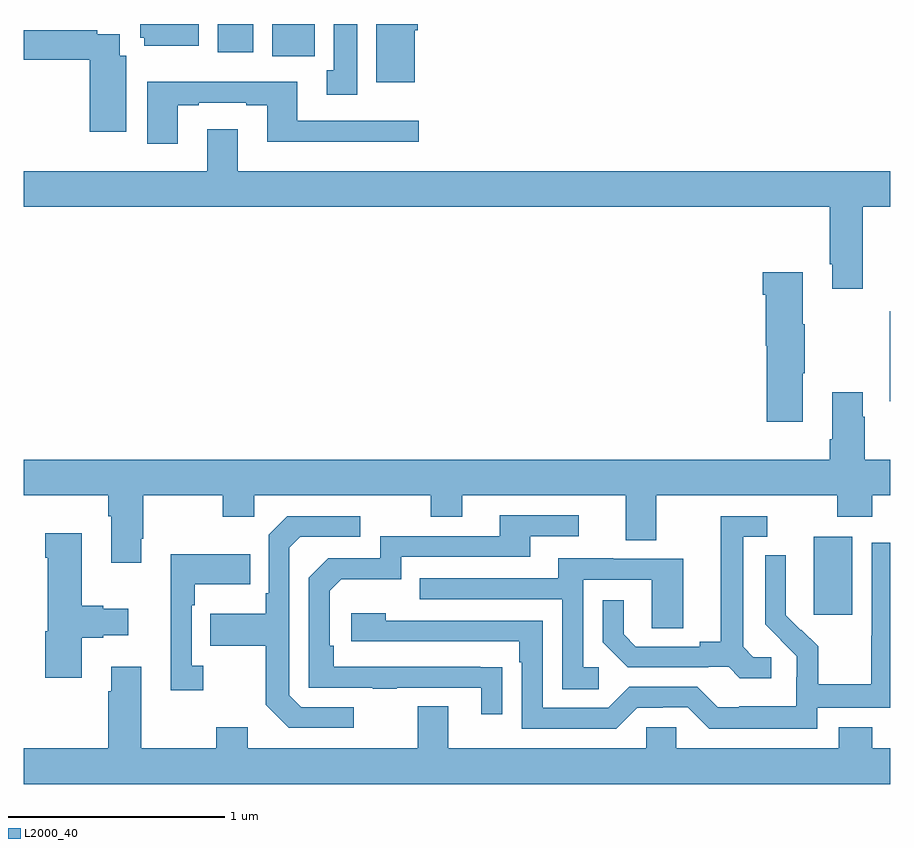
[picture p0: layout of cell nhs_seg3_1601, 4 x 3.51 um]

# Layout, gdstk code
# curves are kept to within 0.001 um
import gdstk
lib = gdstk.Library(unit=1e-6, precision=1e-09)
def R(c, l, rs):  # rectangles x0, y0, x1, y1
    for r in rs: c.add(gdstk.rectangle(r[:2], r[2:], *l))
def P(c, l, *ps):  # polygons
    for p in ps: c.add(gdstk.Polygon(p, *l))
L2000_40 = (2000, 40)

nhs_seg3_1601 = lib.new_cell('nhs_seg3_1601')
R(nhs_seg3_1601, L2000_40, [(196.646,725.673,196.825,726.034), (196.998,726.659,197,727.075), (194.147,728.252,194.344,728.4), (193.895,728.27,194.059,728.4)])
P(nhs_seg3_1601, L2000_40, [(194.806,728.372),(194.819,728.372),(194.819,728.4),(194.627,728.4),(194.627,728.132),(194.806,728.132)],
  [(194.539,728.4),(194.432,728.4),(194.432,728.186),(194.399,728.186),(194.399,728.073),(194.539,728.073)],
  [(193.807,728.4),(193.538,728.4),(193.538,728.337),(193.556,728.337),(193.556,728.3),(193.807,728.3)],
  [(193.474,728.254),(193.444,728.254),(193.444,728.352),(193.34,728.352),(193.34,728.372),(193,728.372),(193,728.236),(193.304,728.236),(193.304,727.902),(193.474,727.902)],
  [(193.711,728.025),(193.807,728.025),(193.807,728.037),(194.027,728.037),(194.027,728.025),(194.123,728.025),(194.123,727.856),(194.824,727.856),(194.824,727.953),(194.263,727.953),(194.263,728.134),(193.571,728.134),(193.571,727.848),(193.711,727.848)],
  [(196.873,727.556),(197,727.556),(197,727.72),(193.987,727.72),(193.987,727.915),(193.847,727.915),(193.847,727.72),(193,727.72),(193,727.556),(196.721,727.556),(196.721,727.291),(196.733,727.291),(196.733,727.179),(196.873,727.179)],
  [(196.597,726.787),(196.605,726.787),(196.605,727.015),(196.597,727.015),(196.597,727.255),(196.412,727.255),(196.412,727.151),(196.424,727.151),(196.424,726.915),(196.43,726.915),(196.43,726.564),(196.597,726.564)],
  [(193.543,726.025),(193.551,726.025),(193.551,726.224),(193.918,726.224),(193.918,726.125),(194.064,726.125),(194.064,726.224),(194.878,726.224),(194.878,726.125),(195.025,726.125),(195.025,726.224),(195.779,726.224),(195.779,726.016),(195.919,726.016),(195.919,726.224),(196.756,726.224),(196.756,726.125),(196.916,726.125),(196.916,726.224),(197,726.224),(197,726.388),(196.881,726.388),(196.881,726.587),(196.873,726.587),(196.873,726.7),(196.733,726.7),(196.733,726.484),(196.721,726.484),(196.721,726.388),(193,726.388),(193,726.224),(193.391,726.224),(193.391,726.128),(193.403,726.128),(193.403,725.913),(193.543,725.913)],
  [(195.209,725.432),(194.432,725.433),(194.432,725.53),(194.412,725.53),(194.412,725.784),(194.465,725.837),(194.742,725.837),(194.742,725.94),(195.337,725.94),(195.337,726.036),(195.562,726.036),(195.562,726.132),(195.197,726.132),(195.197,726.036),(194.646,726.036),(194.646,725.934),(194.406,725.934),(194.316,725.844),(194.316,725.337),(194.611,725.337),(194.611,725.332),(194.723,725.332),(194.723,725.337),(195.113,725.337),(195.113,725.214),(195.209,725.214)],
  [(196.45,725.478),(196.368,725.478),(196.321,725.525),(196.321,726.033),(196.432,726.033),(196.432,726.129),(196.217,726.129),(196.217,725.549),(196.121,725.549),(196.121,725.526),(195.826,725.526),(195.769,725.583),(195.769,725.74),(195.672,725.74),(195.672,725.546),(195.788,725.43),(196.16,725.43),(196.16,725.433),(196.254,725.433),(196.306,725.381),(196.45,725.381)],
  [(194.524,725.247),(194.28,725.247),(194.226,725.301),(194.226,725.982),(194.277,726.033),(194.554,726.033),(194.554,726.129),(194.217,726.129),(194.13,726.042),(194.13,725.773),(194.118,725.773),(194.118,725.677),(193.861,725.677),(193.861,725.53),(194.118,725.53),(194.118,725.257),(194.223,725.151),(194.524,725.151)],
  [(193.267,725.567),(193.367,725.567),(193.367,725.579),(193.483,725.579),(193.483,725.701),(193.367,725.701),(193.367,725.714),(193.267,725.714),(193.267,726.049),(193.1,726.049),(193.1,725.936),(193.112,725.936),(193.112,725.597),(193.1,725.597),(193.1,725.382),(193.267,725.382)],
  [(196.662,725.244),(197,725.244),(197,726.006),(196.914,726.006),(196.914,725.576),(196.912,725.576),(196.912,725.353),(196.667,725.353),(196.667,725.527),(196.59,725.604),(196.587,725.601),(196.517,725.672),(196.518,725.948),(196.422,725.948),(196.422,725.63),(196.568,725.482),(196.568,725.385),(196.566,725.385),(196.566,725.251),(196.303,725.251),(196.303,725.247),(196.203,725.247),(196.11,725.34),(195.795,725.34),(195.699,725.244),(195.396,725.244),(195.396,725.646),(194.672,725.646),(194.672,725.68),(194.511,725.68),(194.511,725.55),(195.287,725.55),(195.287,725.453),(195.3,725.453),(195.3,725.148),(195.735,725.148),(195.831,725.244),(195.95,725.244),(195.95,725.247),(196.065,725.247),(196.165,725.147),(196.662,725.147)],
  [(193.828,725.438),(193.776,725.438),(193.776,725.717),(193.789,725.717),(193.789,725.813),(194.045,725.813),(194.045,725.953),(193.679,725.953),(193.679,725.325),(193.828,725.325)],
  [(195.655,725.43),(195.582,725.43),(195.582,725.835),(195.9,725.835),(195.9,725.611),(196.045,725.611),(196.045,725.931),(195.721,725.931),(195.721,725.935),(195.467,725.935),(195.467,725.841),(194.827,725.841),(194.827,725.745),(195.486,725.745),(195.486,725.329),(195.655,725.329)],
  [(197,725.056),(196.916,725.056),(196.916,725.155),(196.763,725.155),(196.763,725.056),(196.011,725.056),(196.011,725.154),(195.873,725.154),(195.873,725.056),(194.959,725.056),(194.959,725.251),(194.819,725.251),(194.819,725.056),(194.035,725.056),(194.035,725.155),(193.888,725.155),(193.888,725.056),(193.543,725.056),(193.543,725.434),(193.403,725.434),(193.403,725.321),(193.391,725.321),(193.391,725.056),(193,725.056),(193,724.892),(197,724.892)])

lib.write_gds('nhs_seg3_1601.gds')
